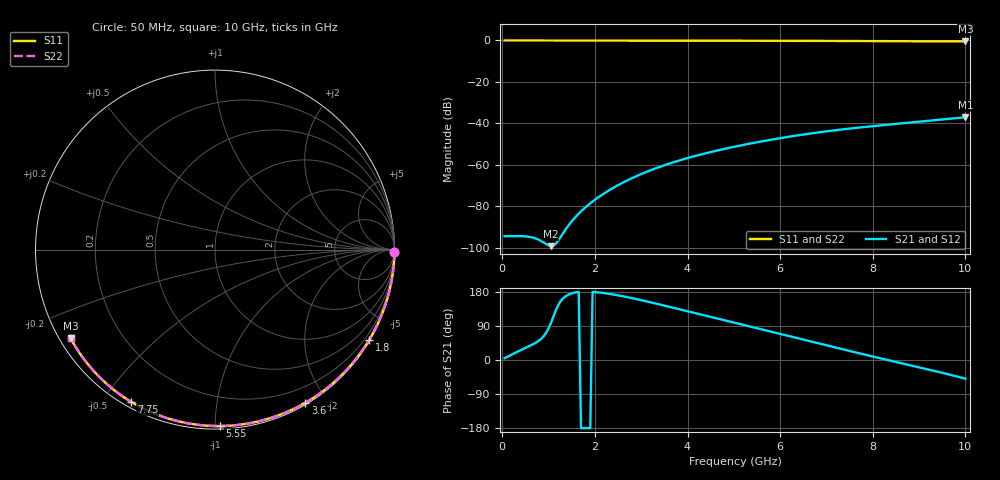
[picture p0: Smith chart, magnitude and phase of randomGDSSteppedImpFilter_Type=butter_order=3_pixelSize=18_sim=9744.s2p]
! freq	dB(S11)	phase(S11)	dB(S12)	phase(S12)
!  dB(S21)	phase(S21)	dB(S22)	phase(S22)
!S-par simulation data
#  GHz  S  DB  R 50
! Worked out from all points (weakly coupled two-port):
!   200 points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, 50 MHz to 10 GHz, reference 50 ohm
!   highest |S21| = -37.04 dB at 10 GHz (marker M1); lowest = -99.2 dB at 1.05 GHz (marker M2)
!   lowest |S11| = -0.5 dB at 10 GHz (marker M3), VSWR 34.81, Z = 1.55 - j14.1 ohm
!   |S11| at or under -10 dB: nowhere
!   |S22| runs from -0.5 to 0.0 dB; largest |S21 - S12| = 0
!   S11 on the Smith chart (normalised r, x): 50 MHz: open; 1.8 GHz: 0.03, -3.67; 3.6 GHz: 0.02, -1.75; 5.55 GHz: 0.02, -1.03; 7.75 GHz: 0.02, -0.59; 10 GHz: 0.03, -0.28
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0.05  -0.00 -0.9  -94.44 5.1  -94.44 5.1  -0.00 -0.9
0.55  -0.01 -9.5  -94.62 34.6  -94.62 34.6  -0.01 -9.5
1.05  -0.02 -17.9  -99.23 97.5  -99.23 97.5  -0.02 -18.0
1.75  -0.04 -29.7  -81.40 -179.7  -81.40 -179.7  -0.04 -29.7
1.8  -0.04 -30.5  -80.40 -179.6  -80.40 -179.6  -0.04 -30.5
1.85  -0.04 -31.3  -79.45 -179.7  -79.45 -179.7  -0.04 -31.3
2.05  -0.04 -34.6  -76.02 178.7  -76.02 178.7  -0.04 -34.6
2.2  -0.05 -37.1  -73.76 176.5  -73.76 176.5  -0.05 -37.1
2.55  -0.06 -42.8  -69.20 169.5  -69.20 169.5  -0.06 -42.8
2.95  -0.06 -49.2  -64.92 159.4  -64.92 159.4  -0.06 -49.2
3.4  -0.07 -56.3  -60.97 146.5  -60.97 146.5  -0.07 -56.3
3.6  -0.08 -59.5  -59.44 140.6  -59.44 140.6  -0.08 -59.5
4.25  -0.10 -69.4  -55.22 121.1  -55.22 121.1  -0.10 -69.4
5.05  -0.13 -81.3  -51.08 97.2  -51.08 97.2  -0.13 -81.3
5.55  -0.14 -88.5  -48.89 82.4  -48.89 82.4  -0.15 -88.5
6.1  -0.17 -96.3  -46.76 66.0  -46.76 66.0  -0.17 -96.3
6.7  -0.20 -104.6  -44.73 47.9  -44.73 47.9  -0.20 -104.6
7.2  -0.24 -111.4  -43.29 32.8  -43.29 32.8  -0.24 -111.4
7.75  -0.28 -118.8  -41.91 16.4  -41.91 16.4  -0.28 -118.8
8.35  -0.33 -126.7  -40.58 -0.9  -40.58 -0.9  -0.33 -126.7
9.2  -0.41 -137.9  -38.79 -24.9  -38.79 -24.9  -0.41 -137.9
10  -0.50 -148.4  -37.04 -49.3  -37.04 -49.3  -0.50 -148.4
